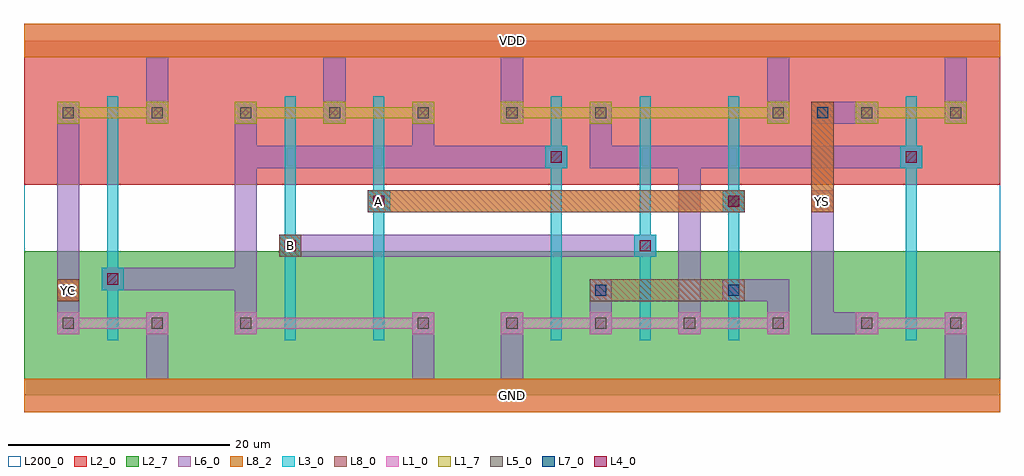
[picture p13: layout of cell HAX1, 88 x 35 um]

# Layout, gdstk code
import gdstk
lib = gdstk.Library(unit=1e-6, precision=1e-09)
def R(c, l, rs):  # rectangles x0, y0, x1, y1
    for r in rs: c.add(gdstk.rectangle(r[:2], r[2:], *l))
def A(c, l, x, y, w, h, nx, ny, dx, dy):  # array of equal rectangles
    R(c, l, [(x+i*dx, y+j*dy, x+i*dx+w, y+j*dy+h) for i in range(nx) for j in range(ny)])
def P(c, l, *ps):  # polygons
    for p in ps: c.add(gdstk.Polygon(p, *l))
L1_0 = (1, 0)
L1_7 = (1, 7)
L2_0 = (2, 0)
L2_7 = (2, 7)
L3_0 = (3, 0)
L4_0 = (4, 0)
L5_0 = (5, 0)
L6_0 = (6, 0)
L7_0 = (7, 0)
L8_0 = (8, 0)
L8_2 = (8, 2)
L200_0 = (200, 0)

hax1 = lib.new_cell('HAX1')
P(hax1, L1_0, [(3,5.5),(3,7.5),(5,7.5),(5,7),(11,7),(11,7.5),(13,7.5),(13,5.5),(11,5.5),(11,6),(5,6),(5,5.5)],
  [(19,5.5),(19,7.5),(21,7.5),(21,7),(35,7),(35,7.5),(37,7.5),(37,5.5),(35,5.5),(35,6),(21,6),(21,5.5)],
  [(43,5.5),(43,7.5),(45,7.5),(45,7),(51,7),(51,7.5),(53,7.5),(53,7),(59,7),(59,7.5),(61,7.5),(61,7),(67,7),(67,7.5),(69,7.5),(69,5.5),(67,5.5),(67,6),(61,6),(61,5.5),(59,5.5),(59,6),(53,6),(53,5.5),(51,5.5),(51,6),(45,6),(45,5.5)],
  [(75,5.5),(75,7.5),(77,7.5),(77,7),(83,7),(83,7.5),(85,7.5),(85,5.5),(83,5.5),(83,6),(77,6),(77,5.5)])
P(hax1, L1_7, [(3,24.5),(3,26.5),(5,26.5),(5,26),(11,26),(11,26.5),(13,26.5),(13,24.5),(11,24.5),(11,25),(5,25),(5,24.5)],
  [(19,24.5),(19,26.5),(21,26.5),(21,26),(27,26),(27,26.5),(29,26.5),(29,26),(35,26),(35,26.5),(37,26.5),(37,24.5),(35,24.5),(35,25),(29,25),(29,24.5),(27,24.5),(27,25),(21,25),(21,24.5)],
  [(43,24.5),(43,26.5),(45,26.5),(45,26),(51,26),(51,26.5),(53,26.5),(53,26),(67,26),(67,26.5),(69,26.5),(69,24.5),(67,24.5),(67,25),(53,25),(53,24.5),(51,24.5),(51,25),(45,25),(45,24.5)],
  [(75,24.5),(75,26.5),(77,26.5),(77,26),(83,26),(83,26.5),(85,26.5),(85,24.5),(83,24.5),(83,25),(77,25),(77,24.5)])
R(hax1, L2_0, [(0,19,88,32)])
R(hax1, L2_7, [(0,0,88,13)])
P(hax1, L3_0, [(7.5,5),(7.5,9.5),(7,9.5),(7,11.5),(7.5,11.5),(7.5,27),(8.5,27),(8.5,11.5),(9,11.5),(9,9.5),(8.5,9.5),(8.5,5)],
  [(23.5,5),(23.5,12.5),(23,12.5),(23,14.5),(23.5,14.5),(23.5,27),(24.5,27),(24.5,14.5),(25,14.5),(25,12.5),(24.5,12.5),(24.5,5)],
  [(31.5,5),(31.5,16.5),(31,16.5),(31,18.5),(31.5,18.5),(31.5,27),(32.5,27),(32.5,18.5),(33,18.5),(33,16.5),(32.5,16.5),(32.5,5)],
  [(47.5,5),(47.5,20.5),(47,20.5),(47,22.5),(47.5,22.5),(47.5,27),(48.5,27),(48.5,22.5),(49,22.5),(49,20.5),(48.5,20.5),(48.5,5)],
  [(55.5,5),(55.5,12.5),(55,12.5),(55,14.5),(55.5,14.5),(55.5,27),(56.5,27),(56.5,14.5),(57,14.5),(57,12.5),(56.5,12.5),(56.5,5)],
  [(63.5,5),(63.5,16.5),(63,16.5),(63,18.5),(63.5,18.5),(63.5,27),(64.5,27),(64.5,18.5),(65,18.5),(65,16.5),(64.5,16.5),(64.5,5)],
  [(79.5,5),(79.5,20.5),(79,20.5),(79,22.5),(79.5,22.5),(79.5,27),(80.5,27),(80.5,22.5),(81,22.5),(81,20.5),(80.5,20.5),(80.5,5)])
R(hax1, L4_0, [(7.5,10,8.5,11), (23.5,13,24.5,14), (55.5,13,56.5,14), (31.5,17,32.5,18), (63.5,17,64.5,18), (47.5,21,48.5,22), (79.5,21,80.5,22)])
A(hax1, L5_0, 3.5, 6, 1, 1, 3, 1, 8, 0)
A(hax1, L5_0, 35.5, 6, 1, 1, 7, 1, 8, 0)
A(hax1, L5_0, 3.5, 25, 1, 1, 7, 1, 8, 0)
A(hax1, L5_0, 67.5, 25, 1, 1, 3, 1, 8, 0)
R(hax1, L6_0, [(3,5.5,5,26.5), (51,5.5,53,10.5), (23,12.5,57,14.5), (31,16.5,33,18.5), (63,16.5,65,18.5), (71,24.5,77,26.5)])
P(hax1, L6_0, [(0,-1.5),(0,1.5),(11,1.5),(11,7.5),(13,7.5),(13,1.5),(35,1.5),(35,7.5),(37,7.5),(37,1.5),(43,1.5),(43,7.5),(45,7.5),(45,1.5),(83,1.5),(83,7.5),(85,7.5),(85,1.5),(88,1.5),(88,-1.5)],
  [(67,5.5),(67,8.5),(63,8.5),(63,10.5),(69,10.5),(69,5.5)],
  [(71,5.5),(71,18.5),(73,18.5),(73,7.5),(77,7.5),(77,5.5)],
  [(19,5.5),(19,9.5),(7,9.5),(7,11.5),(19,11.5),(19,26.5),(21,26.5),(21,22.5),(35,22.5),(35,26.5),(37,26.5),(37,22.5),(49,22.5),(49,20.5),(21,20.5),(21,5.5)],
  [(59,5.5),(59,20.5),(51,20.5),(51,26.5),(53,26.5),(53,22.5),(81,22.5),(81,20.5),(61,20.5),(61,5.5)],
  [(11,24.5),(11,30.5),(0,30.5),(0,33.5),(88,33.5),(88,30.5),(85,30.5),(85,24.5),(83,24.5),(83,30.5),(69,30.5),(69,24.5),(67,24.5),(67,30.5),(45,30.5),(45,24.5),(43,24.5),(43,30.5),(29,30.5),(29,24.5),(27,24.5),(27,30.5),(13,30.5),(13,24.5)])
R(hax1, L7_0, [(3.5,9,4.5,10), (51.5,9,52.5,10), (63.5,9,64.5,10), (23.5,13,24.5,14), (31.5,17,32.5,18), (63.5,17,64.5,18), (71.5,17,72.5,18), (71.5,25,72.5,26)])
R(hax1, L8_0, [(3,8.5,5,10.5), (51,8.5,65,10.5), (23,12.5,25,14.5), (31,16.5,65,18.5), (71,16.5,73,26.5)])
R(hax1, L8_2, [(3,8.5,5,10.5), (23,12.5,25,14.5), (31,16.5,65,18.5), (71,16.5,73,26.5)])
R(hax1, L200_0, [(0,0,88,32)])
hax1.add(gdstk.FlexPath([(0,32),(88,32)], 3, ends="flush", simple_path=True, layer=8, datatype=2))  # L8_2
hax1.add(gdstk.FlexPath([(0,0),(88,0)], 3, ends="flush", simple_path=True, layer=8, datatype=2))  # L8_2
hax1.add(gdstk.Label('GND', (44,0), layer=6, texttype=1))
hax1.add(gdstk.Label('VDD', (44,32), layer=6, texttype=1))
hax1.add(gdstk.Label('B', (24,13.5), layer=8, texttype=1))
hax1.add(gdstk.Label('A', (32,17.5), layer=8, texttype=1))
hax1.add(gdstk.Label('YC', (4,9.5), layer=8, texttype=1))
hax1.add(gdstk.Label('YS', (72,17.5), layer=8, texttype=1))

lib.write_gds('HAX1.gds')
